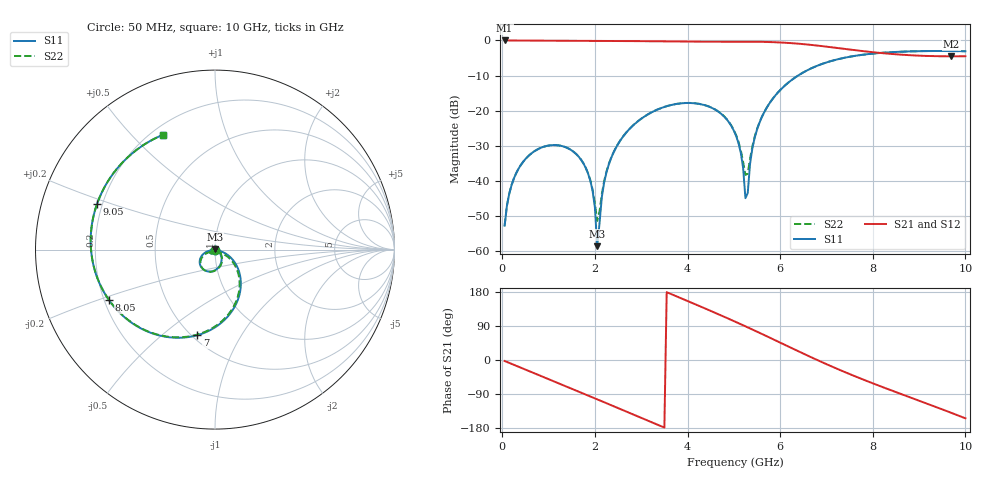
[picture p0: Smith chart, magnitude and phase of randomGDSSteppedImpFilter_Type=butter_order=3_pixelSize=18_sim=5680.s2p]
! freq	dB(S11)	phase(S11)	dB(S12)	phase(S12)
!  dB(S21)	phase(S21)	dB(S22)	phase(S22)
!S-par simulation data
#  GHz  S  DB  R 50
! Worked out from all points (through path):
!   200 points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, 50 MHz to 10 GHz, reference 50 ohm
!   highest |S21| = 0.00 dB at 50 MHz (marker M1); lowest = -4.5 dB at 9.7 GHz (marker M2)
!   group delay of S21, straight-line fit = 146 ps
!   lowest |S11| = -58.5 dB at 2.05 GHz (marker M3), VSWR 1.00, Z = 49.9 + j0.0893 ohm
!   |S11| at or under -10 dB: start of sweep to 6.385 GHz
!   |S22| runs from -52.7 to -3.0 dB; largest |S21 - S12| = 0
!   S11 on the Smith chart (normalised r, x): 50 MHz: 1.00, -0.00; 7 GHz: 0.53, -0.67; 8.05 GHz: 0.22, -0.21; 9.05 GHz: 0.18, +0.18; 10 GHz: 0.24, +0.62
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0.05  -52.68 -82.5  -0.00 -2.6  -0.00 -2.6  -52.68 -82.6
0.25  -39.26 -101.1  -0.02 -12.7  -0.02 -12.7  -39.26 -101.2
0.65  -31.90 -123.2  -0.04 -32.9  -0.04 -32.9  -31.90 -123.7
1.75  -34.93 179.0  -0.10 -88.5  -0.10 -88.5  -34.90 174.4
1.95  -42.77 166.0  -0.11 -98.7  -0.11 -98.7  -42.41 152.3
2.05  -58.50 131.2  -0.12 -103.8  -0.12 -103.8  -51.33 94.9
2.2  -40.34 -18.8  -0.13 -111.5  -0.13 -111.5  -39.96 -5.9
2.4  -31.94 -31.2  -0.14 -121.7  -0.14 -121.7  -31.86 -25.4
3.4  -19.38 -83.4  -0.27 -173.2  -0.27 -173.2  -19.37 -80.9
4.45  -18.76 -137.1  -0.35 132.2  -0.35 132.2  -18.73 -133.7
5.05  -27.19 -166.6  -0.34 100.0  -0.34 100.0  -26.94 -156.5
5.2  -36.20 -167.4  -0.34 91.7  -0.34 91.7  -34.49 -142.5
5.25  -44.85 -147.9  -0.35 88.9  -0.35 88.9  -38.25 -114.7
5.4  -30.69 -15.9  -0.36 80.5  -0.36 80.5  -30.12 -31.3
5.65  -20.57 -25.9  -0.41 66.2  -0.41 66.2  -20.51 -31.1
6.7  -7.76 -85.0  -1.31 5.6  -1.31 5.6  -7.76 -86.2
7  -6.26 -101.6  -1.76 -11.0  -1.76 -11.0  -6.25 -102.5
8.05  -3.68 -154.7  -3.41 -63.9  -3.41 -63.9  -3.68 -155.2
8.35  -3.38 -168.8  -3.78 -77.8  -3.78 -77.8  -3.38 -169.2
9.05  -3.04 159.0  -4.35 -109.7  -4.35 -109.7  -3.04 158.8
9.7  -3.01 128.7  -4.51 -139.6  -4.51 -139.6  -3.01 128.6
10  -3.07 114.3  -4.49 -153.9  -4.49 -153.9  -3.07 114.2
